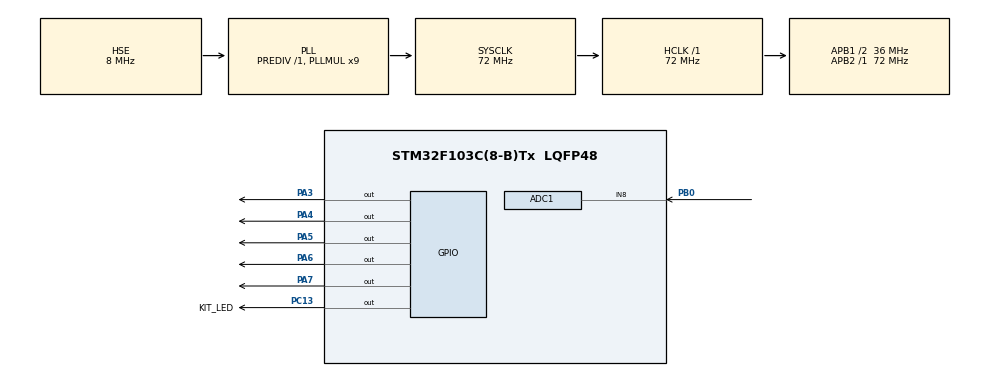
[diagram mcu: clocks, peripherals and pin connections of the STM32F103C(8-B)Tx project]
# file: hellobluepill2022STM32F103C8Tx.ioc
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ADC1.Channel-14\#ChannelRegularConversion=ADC_CHANNEL_8
ADC1.NbrOfConversionFlag=1
ADC1.Rank-14\#ChannelRegularConversion=1
ADC1.SamplingTime-14\#ChannelRegularConversion=ADC_SAMPLETIME_1CYCLE_5
ADC1.master=1
Mcu.Family=STM32F1
Mcu.Name=STM32F103C(8-B)Tx
Mcu.Package=LQFP48
NVIC.PriorityGroup=NVIC_PRIORITYGROUP_4
PA13.Mode=Serial_Wire
PA13.Signal=SYS_JTMS-SWDIO
PA14.Mode=Serial_Wire
PA14.Signal=SYS_JTCK-SWCLK
PA3.Signal=GPIO_Output
PA4.Signal=GPIO_Output
PA5.Signal=GPIO_Output
PA6.Signal=GPIO_Output
PA7.Signal=GPIO_Output
PB0.Signal=ADCx_IN8
PC13-TAMPER-RTC.GPIO_Label=KIT_LED
PC13-TAMPER-RTC.Signal=GPIO_Output
PC14-OSC32_IN.Mode=LSE-External-Oscillator
PC14-OSC32_IN.Signal=RCC_OSC32_IN
PC15-OSC32_OUT.Mode=LSE-External-Oscillator
PC15-OSC32_OUT.Signal=RCC_OSC32_OUT
PD0-OSC_IN.Mode=HSE-External-Oscillator
PD0-OSC_IN.Signal=RCC_OSC_IN
PD1-OSC_OUT.Mode=HSE-External-Oscillator
PD1-OSC_OUT.Signal=RCC_OSC_OUT
ProjectManager.HeapSize=0x200
ProjectManager.StackSize=0x400
ProjectManager.TargetToolchain=Makefile
RCC.ADCPresc=RCC_ADCPCLK2_DIV6
RCC.AHBFreq_Value=72000000
RCC.APB1CLKDivider=RCC_HCLK_DIV2
RCC.APB1Freq_Value=36000000
RCC.APB1TimFreq_Value=72000000
RCC.APB2Freq_Value=72000000
RCC.APB2TimFreq_Value=72000000
RCC.HCLKFreq_Value=72000000
RCC.PLLMUL=RCC_PLL_MUL9
RCC.PLLSourceVirtual=RCC_PLLSOURCE_HSE
RCC.SYSCLKFreq_VALUE=72000000
RCC.SYSCLKSource=RCC_SYSCLKSOURCE_PLLCLK
RCC.USBFreq_Value=48000000
RCC.USBPrescaler=RCC_USBCLKSOURCE_PLL_DIV1_5
SH.ADCx_IN8.0=ADC1_IN8,IN8
board=custom

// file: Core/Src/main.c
/* USER CODE BEGIN Header */
/**
  ******************************************************************************
  * @file           : main.c
  * @brief          : Main program body
  ******************************************************************************
  * @attention
  *
  * Copyright (c) 2022 STMicroelectronics.
  * All rights reserved.
  *
  * This software is licensed under terms that can be found in the LICENSE file
  * in the root directory of this software component.
  * If no LICENSE file comes with this software, it is provided AS-IS.
  *
  ******************************************************************************
  */
/* USER CODE END Header */
#include "main.h"

/* USER CODE BEGIN Includes */
#include "button.h"
/* USER CODE END Includes */

ADC_HandleTypeDef hadc1;

void SystemClock_Config(void);
static void MX_GPIO_Init(void);
static void MX_ADC1_Init(void);

/* USER CODE BEGIN 0 */
void set_pins_from_read(uint32_t read);

/* USER CODE END 0 */

int main(void)
{

  /* USER CODE BEGIN 1 */
  uint32_t read;

  /* USER CODE END 1 */

  /* MCU Configuration--------------------------------------------------------*/

  /* Reset of all peripherals, Initializes the Flash interface and the Systick. */
  HAL_Init();

  /* Configure the system clock */
  SystemClock_Config();

  /* Initialize all configured peripherals */
  MX_GPIO_Init();
  MX_ADC1_Init();

  /* Infinite loop */
  /* USER CODE BEGIN WHILE */
  while (1)
  {
    HAL_Delay(100);
    HAL_ADC_Start(&hadc1);
    HAL_ADC_PollForConversion(&hadc1, 100);
    read = HAL_ADC_GetValue(&hadc1);
    set_pins_from_read(read);
  }

    /* USER CODE END WHILE */

}

void SystemClock_Config(void)
{
  RCC_OscInitTypeDef RCC_OscInitStruct = {0};
  RCC_ClkInitTypeDef RCC_ClkInitStruct = {0};
  RCC_PeriphCLKInitTypeDef PeriphClkInit = {0};

  /** Initializes the RCC Oscillators according to the specified parameters
  * in the RCC_OscInitTypeDef structure.
  */
  RCC_OscInitStruct.OscillatorType = RCC_OSCILLATORTYPE_HSE;
  RCC_OscInitStruct.HSEState = RCC_HSE_ON;
  RCC_OscInitStruct.HSEPredivValue = RCC_HSE_PREDIV_DIV1;
  RCC_OscInitStruct.HSIState = RCC_HSI_ON;
  RCC_OscInitStruct.PLL.PLLState = RCC_PLL_ON;
  RCC_OscInitStruct.PLL.PLLSource = RCC_PLLSOURCE_HSE;
  RCC_OscInitStruct.PLL.PLLMUL = RCC_PLL_MUL9;
  if (HAL_RCC_OscConfig(&RCC_OscInitStruct) != HAL_OK)
  {
    Error_Handler();
  }

  /** Initializes the CPU, AHB and APB buses clocks
  */
  RCC_ClkInitStruct.ClockType = RCC_CLOCKTYPE_HCLK|RCC_CLOCKTYPE_SYSCLK
                              |RCC_CLOCKTYPE_PCLK1|RCC_CLOCKTYPE_PCLK2;
  RCC_ClkInitStruct.SYSCLKSource = RCC_SYSCLKSOURCE_PLLCLK;
  RCC_ClkInitStruct.AHBCLKDivider = RCC_SYSCLK_DIV1;
  RCC_ClkInitStruct.APB1CLKDivider = RCC_HCLK_DIV2;
  RCC_ClkInitStruct.APB2CLKDivider = RCC_HCLK_DIV1;

  if (HAL_RCC_ClockConfig(&RCC_ClkInitStruct, FLASH_LATENCY_2) != HAL_OK)
  {
    Error_Handler();
  }
  PeriphClkInit.PeriphClockSelection = RCC_PERIPHCLK_ADC;
  PeriphClkInit.AdcClockSelection = RCC_ADCPCLK2_DIV6;
  if (HAL_RCCEx_PeriphCLKConfig(&PeriphClkInit) != HAL_OK)
  {
    Error_Handler();
  }
}

static void MX_ADC1_Init(void)
{

  ADC_ChannelConfTypeDef sConfig = {0};

  /** Common config
  */
  hadc1.Instance = ADC1;
  hadc1.Init.ScanConvMode = ADC_SCAN_DISABLE;
  hadc1.Init.ContinuousConvMode = DISABLE;
  hadc1.Init.DiscontinuousConvMode = DISABLE;
  hadc1.Init.ExternalTrigConv = ADC_SOFTWARE_START;
  hadc1.Init.DataAlign = ADC_DATAALIGN_RIGHT;
  hadc1.Init.NbrOfConversion = 1;
  if (HAL_ADC_Init(&hadc1) != HAL_OK)
  {
    Error_Handler();
  }

  /** Configure Regular Channel
  */
  sConfig.Channel = ADC_CHANNEL_8;
  sConfig.Rank = ADC_REGULAR_RANK_1;
  sConfig.SamplingTime = ADC_SAMPLETIME_1CYCLE_5;
  if (HAL_ADC_ConfigChannel(&hadc1, &sConfig) != HAL_OK)
  {
    Error_Handler();
  }

}

static void MX_GPIO_Init(void)
{
  GPIO_InitTypeDef GPIO_InitStruct = {0};

  /* GPIO Ports Clock Enable */
  __HAL_RCC_GPIOC_CLK_ENABLE();
  __HAL_RCC_GPIOD_CLK_ENABLE();
  __HAL_RCC_GPIOA_CLK_ENABLE();
  __HAL_RCC_GPIOB_CLK_ENABLE();

  /*Configure GPIO pin Output Level */
  HAL_GPIO_WritePin(KIT_LED_GPIO_Port, KIT_LED_Pin, GPIO_PIN_RESET);

  /*Configure GPIO pin Output Level */
  HAL_GPIO_WritePin(GPIOA, GPIO_PIN_3|GPIO_PIN_4|GPIO_PIN_5|GPIO_PIN_6
                          |GPIO_PIN_7, GPIO_PIN_RESET);

  /*Configure GPIO pin : KIT_LED_Pin */
  GPIO_InitStruct.Pin = KIT_LED_Pin;
  GPIO_InitStruct.Mode = GPIO_MODE_OUTPUT_PP;
  GPIO_InitStruct.Pull = GPIO_NOPULL;
  GPIO_InitStruct.Speed = GPIO_SPEED_FREQ_LOW;
  HAL_GPIO_Init(KIT_LED_GPIO_Port, &GPIO_InitStruct);

  /*Configure GPIO pins : PA3 PA4 PA5 PA6
                           PA7 */
  GPIO_InitStruct.Pin = GPIO_PIN_3|GPIO_PIN_4|GPIO_PIN_5|GPIO_PIN_6
                          |GPIO_PIN_7;
  GPIO_InitStruct.Mode = GPIO_MODE_OUTPUT_PP;
  GPIO_InitStruct.Pull = GPIO_NOPULL;
  GPIO_InitStruct.Speed = GPIO_SPEED_FREQ_LOW;
  HAL_GPIO_Init(GPIOA, &GPIO_InitStruct);

}

/* USER CODE BEGIN 4 */
void set_pins_from_read(uint32_t read)
{
	// Desligar todos os pinos
	HAL_GPIO_WritePin(GPIOA, GPIO_PIN_3 | GPIO_PIN_4 | GPIO_PIN_5 | GPIO_PIN_6 | GPIO_PIN_7, 0);

	uint8_t pin_array[8] = {GPIO_PIN_3, GPIO_PIN_4, GPIO_PIN_5, GPIO_PIN_6, GPIO_PIN_7};
	uint8_t pins_to_turn_on = 0x0;

	/*for (int i = 0; i < 5; i++) {
		uint8_t current_bit = (count >> i) & 1;
		if (current_bit == 1) {
			pins_to_turn_on |= pin_array[i];
		}
	}
    */
   for (int i = 0; i < 5; i++) {
    if (read >= (149 + i * 946)) {
      pins_to_turn_on |= pin_array[i];
    }
   }

	HAL_GPIO_WritePin(GPIOA, pins_to_turn_on, 1);
}

/* USER CODE END 4 */

void Error_Handler(void)
{
  __disable_irq();
  while (1)
  {
  }
}
